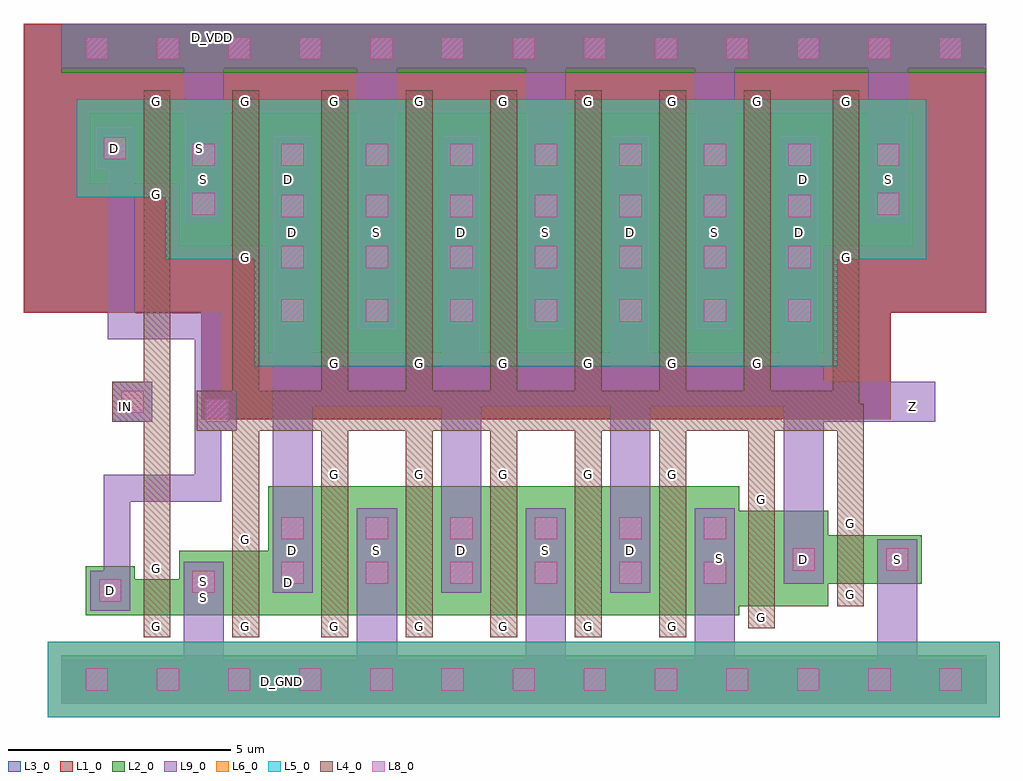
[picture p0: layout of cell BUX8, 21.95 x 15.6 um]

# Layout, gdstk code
import gdstk
lib = gdstk.Library(unit=1e-6, precision=1e-09)
def R(c, l, rs):  # rectangles x0, y0, x1, y1
    for r in rs: c.add(gdstk.rectangle(r[:2], r[2:], *l))
def A(c, l, x, y, w, h, nx, ny, dx, dy):  # array of equal rectangles
    R(c, l, [(x+i*dx, y+j*dy, x+i*dx+w, y+j*dy+h) for i in range(nx) for j in range(ny)])
def P(c, l, *ps):  # polygons
    for p in ps: c.add(gdstk.Polygon(p, *l))
L1_0 = (1, 0)
L2_0 = (2, 0)
L3_0 = (3, 0)
L4_0 = (4, 0)
L5_0 = (5, 0)
L6_0 = (6, 0)
L8_0 = (8, 0)
L9_0 = (9, 0)

bux8 = lib.new_cell('BUX8')
A(bux8, L1_0, 3.15, 6.4, 6, 8.4, 6, 1, 1.9, 0)
A(bux8, L1_0, 0, 8.8, 1.6, 6.5, 13, 1, 1.6, 0)
R(bux8, L1_0, [(-0.85,8.8,0,15.3), (1.15,8.8,7.15,14.8), (14.65,8.8,20.65,14.8), (-0.85,10.2,5.15,14.8)])
A(bux8, L2_0, 0, 0, 1.6, 1.1, 13, 2, 1.6, 14.2)
A(bux8, L2_0, 5.75, 2, 0.8, 2.9, 5, 1, 1.9, 0)
A(bux8, L2_0, 5.75, 7.9, 0.8, 5.4, 6, 1, 1.9, 0)
R(bux8, L2_0, [(0.55,2,1.65,3.1), (1.65,2,2.65,2.8), (2.65,2,3.75,3.45), (2.65,2,3.75,2.8), (3.75,2,4.55,3.45), (4.55,2,5.65,3.45), (4.65,2,5.75,4.9), (6.55,2,7.65,4.9), (6.55,2,7.65,4.9), (8.45,2,9.55,4.9), (8.45,2,9.55,4.9), (10.35,2,11.45,4.9), (10.35,2,11.45,4.9), (12.25,2,13.35,4.9), (12.25,2,13.35,4.9), (14.15,2,15.25,4.9), (14.25,2.2,15.35,4.35), (15.35,2.2,16.15,4.35), (16.15,2.2,17.25,4.35), (16.15,2.7,17.25,3.8), (17.25,2.7,18.25,3.8), (18.25,2.7,19.35,3.8), (4.65,7.9,5.75,13.3), (6.55,7.9,7.65,13.3), (6.55,7.9,7.65,13.3), (8.45,7.9,9.55,13.3), (8.45,7.9,9.55,13.3), (10.35,7.9,11.45,13.3), (10.35,7.9,11.45,13.3), (12.25,7.9,13.35,13.3), (12.25,7.9,13.35,13.3), (14.15,7.9,15.25,13.3), (14.15,7.9,15.25,13.3), (16.05,7.9,17.15,13.3), (2.65,10.3,3.75,13.3), (3.75,10.3,4.55,13.3), (4.55,10.3,5.65,13.3), (16.15,10.3,17.25,13.3), (17.25,10.3,18.05,13.3), (18.05,10.3,19.15,13.3), (0.65,11.7,1.75,13.3), (1.75,11.7,2.55,13.3), (2.55,11.7,3.65,13.3)])
A(bux8, L3_0, 3.15, 6.4, 6, 8.4, 6, 1, 1.9, 0)
A(bux8, L3_0, 0, 8.8, 1.6, 6.5, 13, 1, 1.6, 0)
R(bux8, L3_0, [(-0.85,8.8,0,15.3), (1.15,8.8,7.15,14.8), (14.65,8.8,20.65,14.8), (-0.85,10.2,5.15,14.8)])
A(bux8, L4_0, 1.85, 1.5, 0.6, 0.5, 3, 2, 2, 11.8)
A(bux8, L4_0, 5.85, 1.5, 0.6, 3.9, 5, 1, 1.9, 0)
A(bux8, L4_0, 7.75, 1.5, 0.6, 0.5, 4, 1, 1.9, 0)
A(bux8, L4_0, 5.85, 4.9, 0.6, 0.5, 5, 1, 1.9, 0)
A(bux8, L4_0, 5.85, 5.4, 0.6, 2, 5, 1, 1.9, 0)
A(bux8, L4_0, 5.85, 7.4, 0.6, 0.5, 6, 1, 1.9, 0)
A(bux8, L4_0, 5.85, 7.4, 0.6, 6.4, 6, 1, 1.9, 0)
A(bux8, L4_0, 7.75, 13.3, 0.6, 0.5, 5, 1, 1.9, 0)
R(bux8, L4_0, [(1.85,1.5,2.45,3.3), (3.85,1.5,4.45,3.95), (15.45,1.7,16.05,2.2), (15.45,1.7,16.05,4.85), (17.45,2.2,18.05,2.7), (17.45,2.2,18.05,4.3), (1.85,2.8,2.45,3.3), (3.85,3.45,4.45,3.95), (3.85,3.75,4.45,9.85), (17.45,3.8,18.05,4.3), (15.45,4.35,16.05,4.85), (3.05,6.15,3.95,7.05), (3.95,6.15,17.65,7.05), (1.15,6.35,2.05,7.25), (3.85,9.8,4.45,13.8), (3.85,9.8,4.45,10.3), (17.35,9.8,17.95,13.8), (17.35,9.8,17.95,10.3), (1.85,10.05,2.45,11.2), (1.85,11.2,2.45,11.7), (1.85,11.2,2.45,13.8), (17.35,13.3,17.95,13.8)])
P(bux8, L4_0, [(15.35,6.15),(15.45,6.15),(15.45,4.8),(16.05,4.8),(16.05,6.75),(15.95,6.75),(15.95,7.45),(15.35,7.45)],
  [(17.35,6.15),(17.45,6.15),(17.45,4.3),(18.05,4.3),(18.05,6.75),(17.95,6.75),(17.95,10),(17.35,10)])
A(bux8, L5_0, 1.6, -0.3, 1.6, 1.7, 11, 1, 1.6, 0)
A(bux8, L5_0, 4.35, 7.6, 3.6, 6, 6, 1, 1.9, 0)
R(bux8, L5_0, [(-0.3,-0.3,1.6,1.4), (19.2,-0.3,21.1,1.4), (2.35,10,5.95,13.6), (15.85,10,19.45,13.6), (0.35,11.4,3.95,13.6)])
A(bux8, L6_0, 1.6, -0.3, 1.6, 1.7, 11, 1, 1.6, 0)
A(bux8, L6_0, 4.35, 7.6, 3.6, 6, 6, 1, 1.9, 0)
R(bux8, L6_0, [(-0.3,-0.3,1.6,1.4), (19.2,-0.3,21.1,1.4), (2.35,10,5.95,13.6), (15.85,10,19.45,13.6), (0.35,11.4,3.95,13.6)])
A(bux8, L8_0, 0.55, 0.3, 0.5, 0.5, 13, 2, 1.6, 14.2)
A(bux8, L8_0, 4.95, 9.8, 0.5, 0.5, 1, 3, 0, 1.15)
A(bux8, L8_0, 16.35, 9.8, 0.5, 0.5, 1, 3, 0, 1.15)
R(bux8, L8_0, [(0.85,2.3,1.35,2.8), (2.95,2.5,3.45,3), (4.95,2.7,5.45,3.2), (6.85,2.7,7.35,3.2), (6.85,2.7,7.35,3.2), (8.75,2.7,9.25,3.2), (8.75,2.7,9.25,3.2), (10.65,2.7,11.15,3.2), (10.65,2.7,11.15,3.2), (12.55,2.7,13.05,3.2), (12.55,2.7,13.05,3.2), (14.45,2.7,14.95,3.2), (16.45,3,16.95,3.5), (16.45,3,16.95,3.5), (18.55,3,19.05,3.5), (4.95,3.7,5.45,4.2), (6.85,3.7,7.35,4.2), (6.85,3.7,7.35,4.2), (8.75,3.7,9.25,4.2), (8.75,3.7,9.25,4.2), (10.65,3.7,11.15,4.2), (10.65,3.7,11.15,4.2), (12.55,3.7,13.05,4.2), (12.55,3.7,13.05,4.2), (14.45,3.7,14.95,4.2), (3.25,6.35,3.75,6.85), (1.35,6.55,1.85,7.05), (4.95,8.6,5.45,9.1), (6.85,8.6,7.35,9.1), (6.85,8.6,7.35,9.1), (8.75,8.6,9.25,9.1), (8.75,8.6,9.25,9.1), (10.65,8.6,11.15,9.1), (10.65,8.6,11.15,9.1), (12.55,8.6,13.05,9.1), (12.55,8.6,13.05,9.1), (14.45,8.6,14.95,9.1), (14.45,8.6,14.95,9.1), (16.35,8.6,16.85,9.1), (6.85,9.8,7.35,10.3), (6.85,9.8,7.35,10.3), (8.75,9.8,9.25,10.3), (8.75,9.8,9.25,10.3), (10.65,9.8,11.15,10.3), (10.65,9.8,11.15,10.3), (12.55,9.8,13.05,10.3), (12.55,9.8,13.05,10.3), (14.45,9.8,14.95,10.3), (14.45,9.8,14.95,10.3), (6.85,10.95,7.35,11.45), (6.85,10.95,7.35,11.45), (8.75,10.95,9.25,11.45), (8.75,10.95,9.25,11.45), (10.65,10.95,11.15,11.45), (10.65,10.95,11.15,11.45), (12.55,10.95,13.05,11.45), (12.55,10.95,13.05,11.45), (14.45,10.95,14.95,11.45), (14.45,10.95,14.95,11.45), (2.95,11,3.45,11.5), (18.35,11,18.85,11.5), (2.95,12.1,3.45,12.6), (6.85,12.1,7.35,12.6), (6.85,12.1,7.35,12.6), (8.75,12.1,9.25,12.6), (8.75,12.1,9.25,12.6), (10.65,12.1,11.15,12.6), (10.65,12.1,11.15,12.6), (12.55,12.1,13.05,12.6), (12.55,12.1,13.05,12.6), (14.45,12.1,14.95,12.6), (14.45,12.1,14.95,12.6), (18.35,12.1,18.85,12.6), (0.95,12.25,1.45,12.75)])
A(bux8, L9_0, 0, 0, 1.6, 1, 13, 2, 1.6, 14.3)
R(bux8, L9_0, [(0,0,9.6,1), (6.65,0.1,7.55,3.2), (0.65,2.1,1.55,3), (2.75,2.3,3.65,3.2), (4.75,2.5,5.65,4.4), (6.65,2.5,7.55,4.4), (6.65,2.5,7.55,4.4), (8.55,2.5,9.45,4.4), (8.55,2.5,9.45,4.4), (10.45,2.5,11.35,4.4), (10.45,2.5,11.35,4.4), (12.35,2.5,13.25,4.4), (12.35,2.5,13.25,4.4), (14.25,2.5,15.15,4.4), (16.25,2.7,17.15,3.85), (16.25,2.8,17.15,3.7), (18.35,2.8,19.25,3.7), (4.75,3.3,5.65,7.6), (8.55,3.3,9.45,9.1), (12.35,3.3,13.25,9.1), (3.05,6.15,3.95,7.05), (1.15,6.35,2.05,7.25), (1.15,6.35,2.05,7.25), (16.25,6.35,19.65,7.25), (18.75,6.35,19.65,7.25), (4.75,6.7,5.65,9.1), (4.75,6.7,17.05,7.6), (16.15,6.7,17.05,9.1), (4.75,8.4,5.65,12.8), (6.65,8.4,7.55,12.8), (6.65,8.4,7.55,12.8), (8.55,8.4,9.45,12.8), (8.55,8.4,9.45,12.8), (10.45,8.4,11.35,12.8), (10.45,8.4,11.35,12.8), (12.35,8.4,13.25,12.8), (12.35,8.4,13.25,12.8), (14.25,8.4,15.15,12.8), (14.25,8.4,15.15,12.8), (16.15,8.4,17.05,12.8), (2.75,10.8,3.65,12.8), (18.15,10.8,19.05,12.8), (18.15,10.95,19.05,15.2), (6.65,11.9,7.55,15.2), (0.75,12,1.65,13), (0,14.3,9.6,15.3)])
P(bux8, L9_0, [(10.45,0.1),(12.1,0.1),(12.1,1),(11.35,1),(11.35,3.2),(10.45,3.2)],
  [(13.5,0.1),(15.15,0.1),(15.15,3.2),(14.25,3.2),(14.25,1),(13.5,1)],
  [(16.15,6.7),(16.25,6.7),(16.25,2.95),(17.15,2.95),(17.15,7.6),(16.15,7.6)],
  [(13.5,14.3),(14.25,14.3),(14.25,11.9),(15.15,11.9),(15.15,15.2),(13.5,15.2)],
  [(10.45,11.9),(11.35,11.9),(11.35,14.3),(12.1,14.3),(12.1,15.2),(10.45,15.2)],
  [(2.3,14.3),(2.75,14.3),(2.75,11.9),(3.65,11.9),(3.65,15.2),(2.3,15.2)],
  [(1.05,8.2),(3,8.2),(3,6.45),(3.65,6.45),(3.65,7.05),(3.6,7.05),(3.6,8.8),(1.65,8.8),(1.65,12.6),(1.05,12.6)],
  [(0.95,2.4),(1.55,2.4),(1.55,4.55),(3.6,4.55),(3.6,6.15),(3.65,6.15),(3.65,6.75),(3,6.75),(3,5.15),(0.95,5.15)],
  [(2.75,0.1),(4.1,0.1),(4.1,1),(3.65,1),(3.65,3),(2.75,3)],
  [(18.35,0.1),(20.1,0.1),(20.1,1),(19.25,1),(19.25,3.7),(18.35,3.7)])
bux8.add(gdstk.FlexPath([(2.15,3.3),(2.15,10.1)], 0.6, ends="flush", simple_path=True, layer=4, datatype=0))  # L4_0
bux8.add(gdstk.Label('G', (17.65,10.052), layer=4, texttype=0))
bux8.add(gdstk.Label('G', (17.65,13.552), layer=4, texttype=0))
bux8.add(gdstk.Label('S', (18.601,11.801), layer=9, texttype=0))
bux8.add(gdstk.Label('D', (16.701,11.801), layer=2, texttype=0))
bux8.add(gdstk.Label('G', (15.65,7.652), layer=4, texttype=0))
bux8.add(gdstk.Label('G', (15.65,13.552), layer=4, texttype=0))
bux8.add(gdstk.Label('S', (14.699,10.601), layer=9, texttype=0))
bux8.add(gdstk.Label('D', (16.599,10.601), layer=9, texttype=0))
bux8.add(gdstk.Label('G', (13.75,7.652), layer=4, texttype=0))
bux8.add(gdstk.Label('G', (13.75,13.552), layer=4, texttype=0))
bux8.add(gdstk.Label('S', (14.701,10.601), layer=9, texttype=0))
bux8.add(gdstk.Label('D', (12.801,10.601), layer=9, texttype=0))
bux8.add(gdstk.Label('G', (11.85,7.652), layer=4, texttype=0))
bux8.add(gdstk.Label('G', (11.85,13.552), layer=4, texttype=0))
bux8.add(gdstk.Label('S', (10.899,10.601), layer=9, texttype=0))
bux8.add(gdstk.Label('D', (12.799,10.601), layer=9, texttype=0))
bux8.add(gdstk.Label('G', (9.95,7.652), layer=4, texttype=0))
bux8.add(gdstk.Label('G', (9.95,13.552), layer=4, texttype=0))
bux8.add(gdstk.Label('S', (10.901,10.601), layer=9, texttype=0))
bux8.add(gdstk.Label('D', (9.001,10.601), layer=9, texttype=0))
bux8.add(gdstk.Label('G', (8.05,7.652), layer=4, texttype=0))
bux8.add(gdstk.Label('G', (8.05,13.552), layer=4, texttype=0))
bux8.add(gdstk.Label('S', (7.099,10.601), layer=9, texttype=0))
bux8.add(gdstk.Label('D', (8.999,10.601), layer=9, texttype=0))
bux8.add(gdstk.Label('G', (6.15,7.652), layer=4, texttype=0))
bux8.add(gdstk.Label('G', (6.15,13.552), layer=4, texttype=0))
bux8.add(gdstk.Label('S', (7.101,10.601), layer=9, texttype=0))
bux8.add(gdstk.Label('D', (5.201,10.601), layer=9, texttype=0))
bux8.add(gdstk.Label('G', (4.15,10.052), layer=4, texttype=0))
bux8.add(gdstk.Label('G', (4.15,13.552), layer=4, texttype=0))
bux8.add(gdstk.Label('S', (3.199,11.801), layer=9, texttype=0))
bux8.add(gdstk.Label('D', (5.099,11.801), layer=2, texttype=0))
bux8.add(gdstk.Label('G', (17.75,2.452), layer=4, texttype=0))
bux8.add(gdstk.Label('G', (17.75,4.052), layer=4, texttype=0))
bux8.add(gdstk.Label('S', (18.801,3.251), layer=9, texttype=0))
bux8.add(gdstk.Label('D', (16.701,3.251), layer=9, texttype=0))
bux8.add(gdstk.Label('G', (15.75,1.952), layer=4, texttype=0))
bux8.add(gdstk.Label('G', (15.75,4.602), layer=4, texttype=0))
bux8.add(gdstk.Label('S', (14.799,3.276), layer=2, texttype=0))
bux8.add(gdstk.Label('D', (16.699,3.276), layer=9, texttype=0))
bux8.add(gdstk.Label('G', (13.75,1.752), layer=4, texttype=0))
bux8.add(gdstk.Label('G', (13.75,5.152), layer=4, texttype=0))
bux8.add(gdstk.Label('S', (14.701,3.451), layer=9, texttype=0))
bux8.add(gdstk.Label('D', (12.801,3.451), layer=9, texttype=0))
bux8.add(gdstk.Label('G', (11.85,1.752), layer=4, texttype=0))
bux8.add(gdstk.Label('G', (11.85,5.152), layer=4, texttype=0))
bux8.add(gdstk.Label('S', (10.899,3.451), layer=9, texttype=0))
bux8.add(gdstk.Label('D', (12.799,3.451), layer=9, texttype=0))
bux8.add(gdstk.Label('G', (9.95,1.752), layer=4, texttype=0))
bux8.add(gdstk.Label('G', (9.95,5.152), layer=4, texttype=0))
bux8.add(gdstk.Label('S', (10.901,3.451), layer=9, texttype=0))
bux8.add(gdstk.Label('D', (9.001,3.451), layer=9, texttype=0))
bux8.add(gdstk.Label('G', (8.05,1.752), layer=4, texttype=0))
bux8.add(gdstk.Label('G', (8.05,5.152), layer=4, texttype=0))
bux8.add(gdstk.Label('S', (7.099,3.451), layer=9, texttype=0))
bux8.add(gdstk.Label('D', (8.999,3.451), layer=9, texttype=0))
bux8.add(gdstk.Label('G', (6.15,1.752), layer=4, texttype=0))
bux8.add(gdstk.Label('G', (6.15,5.152), layer=4, texttype=0))
bux8.add(gdstk.Label('S', (7.101,3.451), layer=9, texttype=0))
bux8.add(gdstk.Label('D', (5.201,3.451), layer=9, texttype=0))
bux8.add(gdstk.Label('D', (5.099,2.726), layer=2, texttype=0))
bux8.add(gdstk.Label('G', (4.15,1.752), layer=4, texttype=0))
bux8.add(gdstk.Label('G', (4.15,3.702), layer=4, texttype=0))
bux8.add(gdstk.Label('S', (3.199,2.751), layer=9, texttype=0))
bux8.add(gdstk.Label('G', (2.15,11.452), layer=4, texttype=0))
bux8.add(gdstk.Label('G', (2.15,13.552), layer=4, texttype=0))
bux8.add(gdstk.Label('S', (3.101,12.501), layer=2, texttype=0))
bux8.add(gdstk.Label('D', (1.201,12.501), layer=9, texttype=0))
bux8.add(gdstk.Label('G', (2.15,1.752), layer=4, texttype=0))
bux8.add(gdstk.Label('G', (2.15,3.052), layer=4, texttype=0))
bux8.add(gdstk.Label('S', (3.201,2.401), layer=2, texttype=0))
bux8.add(gdstk.Label('D', (1.101,2.551), layer=9, texttype=0))
bux8.add(gdstk.Label('D_VDD', (3.4,15), layer=50, texttype=0))
bux8.add(gdstk.Label('D_GND', (4.95,0.5), layer=50, texttype=0))
bux8.add(gdstk.Label('IN', (1.45,6.7), layer=50, texttype=0))
bux8.add(gdstk.Label('Z', (19.15,6.7), layer=50, texttype=0))

lib.write_gds('BUX8.gds')
